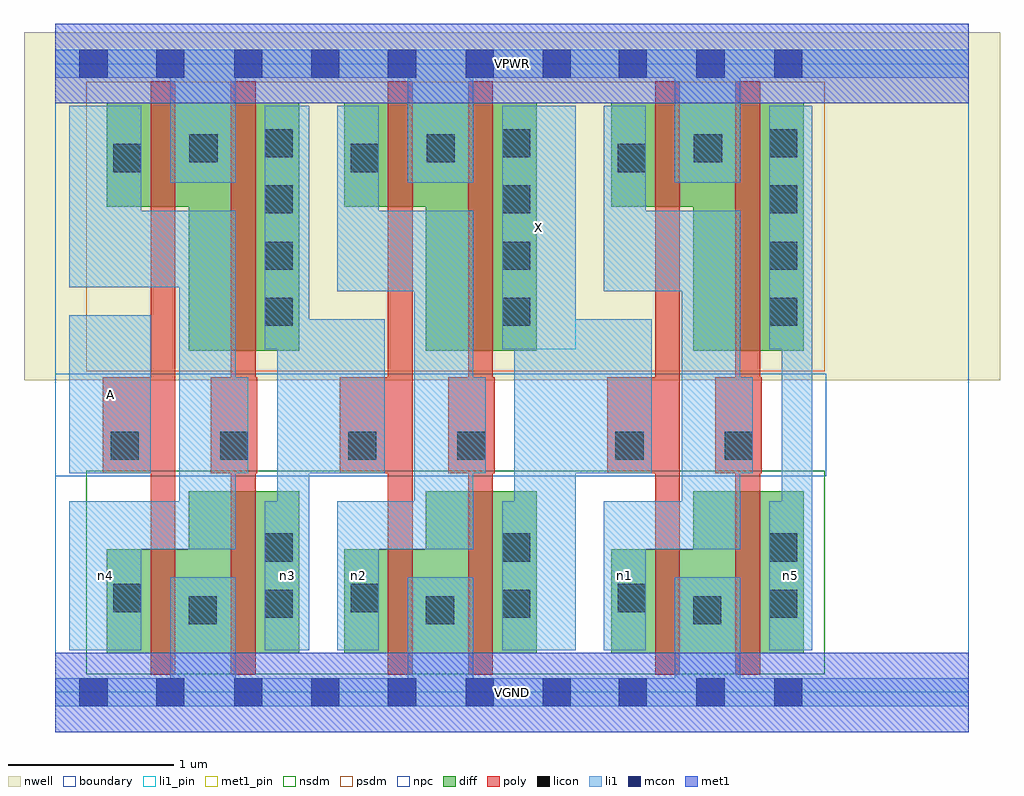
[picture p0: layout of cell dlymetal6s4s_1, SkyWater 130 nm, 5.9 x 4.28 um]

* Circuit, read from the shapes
.subckt dlymetal6s4s_1 A VGND VPWR X n1 n2 n3 n4 n5
XM1 VGND A n4 VSUBS sky130_fd_pr__nfet_01v8 w=0.63 l=0.15
XM2 n3 n4 VGND VSUBS sky130_fd_pr__nfet_01v8 w=0.98 l=0.15
XM3 VGND n3 n2 VSUBS sky130_fd_pr__nfet_01v8 w=0.63 l=0.15
XM4 X n2 VGND VSUBS sky130_fd_pr__nfet_01v8 w=0.98 l=0.15
XM5 VGND X n1 VSUBS sky130_fd_pr__nfet_01v8 w=0.63 l=0.15
XM6 n5 n1 VGND VSUBS sky130_fd_pr__nfet_01v8 w=0.98 l=0.15
XM7 VPWR A n4 n6 sky130_fd_pr__pfet_01v8 w=0.63 l=0.15
XM8 n3 n4 VPWR n6 sky130_fd_pr__pfet_01v8 w=1.5 l=0.15
XM9 VPWR n3 n2 n6 sky130_fd_pr__pfet_01v8 w=0.63 l=0.15
XM10 X n2 VPWR n6 sky130_fd_pr__pfet_01v8 w=1.5 l=0.15
XM11 VPWR X n1 n6 sky130_fd_pr__pfet_01v8 w=0.63 l=0.15
XM12 n5 n1 VPWR n6 sky130_fd_pr__pfet_01v8 w=1.5 l=0.15
.ends

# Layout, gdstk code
import gdstk
lib = gdstk.Library(unit=1e-6, precision=1e-09)
def R(c, l, rs):  # rectangles x0, y0, x1, y1
    for r in rs: c.add(gdstk.rectangle(r[:2], r[2:], *l))
def A(c, l, x, y, w, h, nx, ny, dx, dy):  # array of equal rectangles
    R(c, l, [(x+i*dx, y+j*dy, x+i*dx+w, y+j*dy+h) for i in range(nx) for j in range(ny)])
nwell = (64, 20)
diff = (65, 20)
poly = (66, 20)
licon = (66, 44)
li1_pin = (67, 16)
li1 = (67, 20)
mcon = (67, 44)
met1_pin = (68, 16)
met1 = (68, 20)
nsdm = (93, 44)
psdm = (94, 20)
npc = (95, 20)
boundary = (235, 4)

dlymetal6s4s_1 = lib.new_cell('dlymetal6s4s_1')
R(dlymetal6s4s_1, nwell, [(-0.19,1.885,5.71,3.99), (0,1.885,5.52,3.99)])
R(dlymetal6s4s_1, diff, [(0.31,0.235,1.475,0.865), (0.805,0.235,1.475,1.215), (1.745,0.235,2.91,0.865), (2.24,0.235,2.91,1.215), (3.36,0.235,4.525,0.865), (3.855,0.235,4.525,1.215), (0.805,2.065,1.475,3.565), (2.24,2.065,2.91,3.565), (3.855,2.065,4.525,3.565), (0.31,2.935,1.475,3.565), (1.745,2.935,2.91,3.565), (3.36,2.935,4.525,3.565)])
R(dlymetal6s4s_1, poly, [(0.575,0.105,0.725,3.695), (1.06,0.105,1.21,3.695), (2.01,0.105,2.16,3.695), (2.495,0.105,2.645,3.695), (3.625,0.105,3.775,3.695), (4.11,0.105,4.26,3.695), (0.285,1.325,0.725,1.905), (0.94,1.325,1.22,1.905), (1.72,1.325,2.16,1.905), (2.375,1.325,2.655,1.905), (3.335,1.325,3.775,1.905), (3.99,1.325,4.27,1.905)])
A(dlymetal6s4s_1, licon, 1.265, 2.215, 0.17, 0.17, 1, 4, 0, 0.34)
A(dlymetal6s4s_1, licon, 2.7, 2.215, 0.17, 0.17, 1, 4, 0, 0.34)
A(dlymetal6s4s_1, licon, 4.315, 2.215, 0.17, 0.17, 1, 4, 0, 0.34)
R(dlymetal6s4s_1, licon, [(0.805,0.41,0.975,0.58), (2.24,0.41,2.41,0.58), (3.855,0.41,4.025,0.58), (1.265,0.45,1.435,0.62), (2.7,0.45,2.87,0.62), (4.315,0.45,4.485,0.62), (0.35,0.485,0.52,0.655), (1.785,0.485,1.955,0.655), (3.4,0.485,3.57,0.655), (1.265,0.79,1.435,0.96), (2.7,0.79,2.87,0.96), (4.315,0.79,4.485,0.96), (0.335,1.405,0.505,1.575), (0.995,1.405,1.165,1.575), (1.77,1.405,1.94,1.575), (2.43,1.405,2.6,1.575), (3.385,1.405,3.555,1.575), (4.045,1.405,4.215,1.575), (0.35,3.145,0.52,3.315), (1.785,3.145,1.955,3.315), (3.4,3.145,3.57,3.315), (0.81,3.205,0.98,3.375), (2.245,3.205,2.415,3.375), (3.86,3.205,4.03,3.375)])
R(dlymetal6s4s_1, li1_pin, [(0.085,1.325,0.575,2.28), (2.7,2.075,3.145,3.545)])
R(dlymetal6s4s_1, li1, [(0,-0.085,5.52,0.085), (0.695,-0.085,1.09,0.695), (2.13,-0.085,2.525,0.695), (3.745,-0.085,4.14,0.695), (0.085,0.255,0.52,1.155), (1.265,0.255,1.535,1.155), (1.34,0.255,1.535,3.545), (1.705,0.255,1.955,1.155), (2.7,0.255,3.145,1.155), (2.775,0.255,3.145,3.545), (3.315,0.255,3.57,1.155), (4.315,0.255,4.575,1.155), (4.39,0.255,4.575,3.545), (0.085,0.865,1.09,1.155), (0.75,0.865,1.09,2.91), (1.705,0.865,2.525,1.155), (2.17,0.865,2.525,2.91), (3.315,0.865,4.14,1.155), (3.785,0.865,4.14,2.91), (0.085,1.325,0.575,2.28), (0.75,1.325,1.165,1.905), (1.34,1.325,1.99,2.255), (2.17,1.325,2.6,1.905), (2.775,1.325,3.605,2.255), (3.785,1.325,4.215,1.905), (1.265,2.075,1.535,3.545), (2.7,2.075,3.145,3.545), (4.315,2.075,4.575,3.545), (1.705,2.425,1.955,3.545), (1.705,2.425,2.525,2.91), (3.315,2.425,3.57,3.545), (3.315,2.425,4.14,2.91), (0.085,2.45,0.52,3.545), (0.085,2.45,1.09,2.91), (0.695,3.08,1.09,3.885), (2.13,3.08,2.525,3.885), (3.745,3.08,4.14,3.885), (0,3.715,5.52,3.885)])
A(dlymetal6s4s_1, mcon, 1.08, -0.085, 0.17, 0.17, 3, 2, 0.465, 3.8)
A(dlymetal6s4s_1, mcon, 3.405, -0.085, 0.17, 0.17, 3, 2, 0.47, 3.8)
R(dlymetal6s4s_1, mcon, [(0.145,-0.085,0.315,0.085), (0.61,-0.085,0.78,0.085), (2.48,-0.085,2.65,0.085), (2.945,-0.085,3.115,0.085), (0.145,3.715,0.315,3.885), (0.61,3.715,0.78,3.885), (2.48,3.715,2.65,3.885), (2.945,3.715,3.115,3.885)])
R(dlymetal6s4s_1, met1_pin, [(0,-0.24,5.52,0.24), (0,3.56,5.52,4.04)])
R(dlymetal6s4s_1, met1, [(0,-0.24,5.52,0.24), (0,3.56,5.52,4.04)])
R(dlymetal6s4s_1, nsdm, [(0.185,0.11,4.65,1.34)])
R(dlymetal6s4s_1, psdm, [(0.185,1.94,4.65,3.69)])
R(dlymetal6s4s_1, npc, [(0,1.305,4.66,1.925)])
R(dlymetal6s4s_1, boundary, [(0,0,5.52,3.8)])
dlymetal6s4s_1.add(gdstk.Label('A', (0.33,1.802), layer=67, texttype=5))
dlymetal6s4s_1.add(gdstk.Label('X', (2.922,2.81), layer=67, texttype=5))
dlymetal6s4s_1.add(gdstk.Label('n4', (0.302,0.705), layer=67, texttype=5))
dlymetal6s4s_1.add(gdstk.Label('n3', (1.4,0.705), layer=67, texttype=5))
dlymetal6s4s_1.add(gdstk.Label('n2', (1.83,0.705), layer=67, texttype=5))
dlymetal6s4s_1.add(gdstk.Label('n1', (3.442,0.705), layer=67, texttype=5))
dlymetal6s4s_1.add(gdstk.Label('n5', (4.445,0.705), layer=67, texttype=5))
dlymetal6s4s_1.add(gdstk.Label('VPWR', (2.76,3.8), layer=68, texttype=5))
dlymetal6s4s_1.add(gdstk.Label('VGND', (2.76,0), layer=68, texttype=5))
dlymetal6s4s_1.add(gdstk.Label('A', (0.33,1.802), layer=67, texttype=16))
dlymetal6s4s_1.add(gdstk.Label('X', (2.922,2.81), layer=67, texttype=16))
dlymetal6s4s_1.add(gdstk.Label('VPWR', (2.76,3.8), layer=68, texttype=16))
dlymetal6s4s_1.add(gdstk.Label('VGND', (2.76,0), layer=68, texttype=16))

lib.write_gds('dlymetal6s4s_1.gds')
